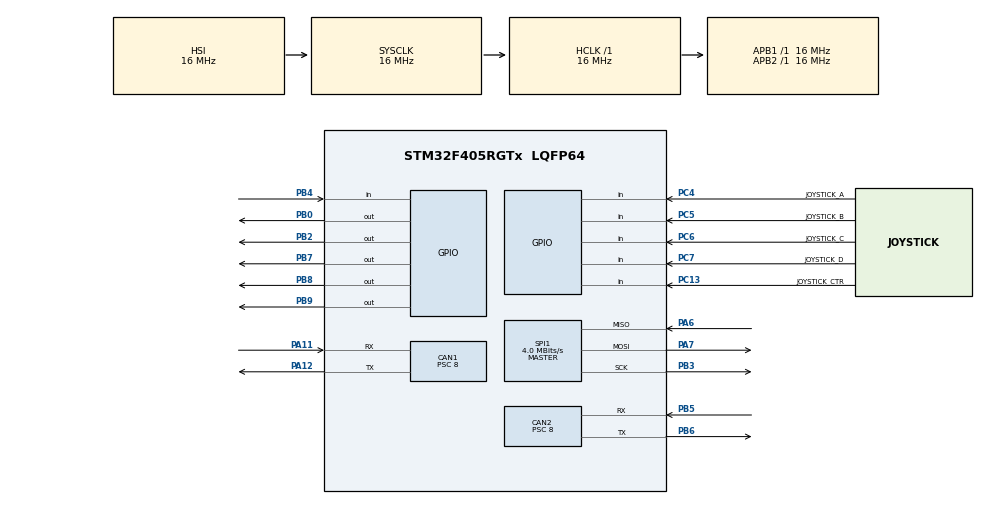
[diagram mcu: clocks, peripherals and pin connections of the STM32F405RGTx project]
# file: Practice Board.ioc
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CAN1.BS1=CAN_BS1_2TQ
CAN1.CalculateBaudRate=500000
CAN1.CalculateTimeBit=2000.00
CAN1.CalculateTimeQuantum=500.0
CAN1.Mode=CAN_MODE_NORMAL
CAN1.Prescaler=8
CAN2.BS1=CAN_BS1_2TQ
CAN2.CalculateBaudRate=500000
CAN2.CalculateTimeBit=2000.00
CAN2.CalculateTimeQuantum=500.0
CAN2.Prescaler=8
Mcu.Family=STM32F4
Mcu.Name=STM32F405RGTx
Mcu.Package=LQFP64
NVIC.CAN1_RX0_IRQn=true\:0\:0\:false\:false\:true\:true\:true
NVIC.CAN2_RX0_IRQn=true\:0\:0\:false\:false\:true\:true\:true
NVIC.PriorityGroup=NVIC_PRIORITYGROUP_4
NVIC.TIM2_IRQn=true\:0\:0\:false\:false\:true\:true\:true
PA11.GPIO_PuPd=GPIO_PULLUP
PA11.Mode=CAN_Activate
PA11.Signal=CAN1_RX
PA12.GPIO_PuPd=GPIO_PULLUP
PA12.Mode=CAN_Activate
PA12.Signal=CAN1_TX
PA6.GPIO_PuPd=GPIO_PULLUP
PA6.Mode=Full_Duplex_Master
PA6.Signal=SPI1_MISO
PA7.GPIO_PuPd=GPIO_PULLUP
PA7.Mode=Full_Duplex_Master
PA7.Signal=SPI1_MOSI
PB0.Signal=GPIO_Output
PB2.Signal=GPIO_Output
PB3.GPIO_PuPd=GPIO_PULLUP
PB3.Mode=Full_Duplex_Master
PB3.Signal=SPI1_SCK
PB4.GPIO_PuPd=GPIO_PULLUP
PB4.Signal=GPIO_Input
PB5.GPIO_PuPd=GPIO_PULLUP
PB5.Mode=CAN_Activate
PB5.Signal=CAN2_RX
PB6.GPIO_PuPd=GPIO_PULLUP
PB6.Mode=CAN_Activate
PB6.Signal=CAN2_TX
PB7.Signal=GPIO_Output
PB8.Signal=GPIO_Output
PB9.Signal=GPIO_Output
PC13-ANTI_TAMP.GPIO_Label=JOYSTICK_CTR
PC13-ANTI_TAMP.GPIO_PuPd=GPIO_PULLUP
PC13-ANTI_TAMP.Signal=GPIO_Input
PC4.GPIO_Label=JOYSTICK_A
PC4.GPIO_PuPd=GPIO_PULLUP
PC4.Signal=GPIO_Input
PC5.GPIO_Label=JOYSTICK_B
PC5.GPIO_PuPd=GPIO_PULLUP
PC5.Signal=GPIO_Input
PC6.GPIO_Label=JOYSTICK_C
PC6.GPIO_PuPd=GPIO_PULLUP
PC6.Signal=GPIO_Input
PC7.GPIO_Label=JOYSTICK_D
PC7.GPIO_PuPd=GPIO_PULLUP
PC7.Signal=GPIO_Input
ProjectManager.HeapSize=0x200
ProjectManager.StackSize=0x400
ProjectManager.TargetToolchain=STM32CubeIDE
RCC.AHBFreq_Value=16000000
RCC.APB1Freq_Value=16000000
RCC.APB2Freq_Value=16000000
RCC.CortexFreq_Value=16000000
RCC.HSE_VALUE=25000000
RCC.HSI_VALUE=16000000
RCC.LSE_VALUE=32768
RCC.SYSCLKFreq_VALUE=16000000
RCC.VCOOutputFreq_Value=192000000
SPI1.BaudRatePrescaler=SPI_BAUDRATEPRESCALER_4
SPI1.CLKPolarity=SPI_POLARITY_HIGH
SPI1.CalculateBaudRate=4.0 MBits/s
SPI1.Direction=SPI_DIRECTION_2LINES
SPI1.Mode=SPI_MODE_MASTER
SPI1.VirtualType=VM_MASTER
TIM2.Period=9999
TIM2.Prescaler=15
VP_TIM2_VS_ClockSourceINT.Mode=Internal
board=custom

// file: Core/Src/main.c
/* USER CODE BEGIN Header */
/**
  ******************************************************************************
  * @file           : main.c
  * @brief          : Main program body
  ******************************************************************************
  * @attention
  *
  * <h2><center>&copy; Copyright (c) 2023 STMicroelectronics.
  * All rights reserved.</center></h2>
  *
  * This software component is licensed by ST under BSD 3-Clause license,
  * the "License"; You may not use this file except in compliance with the
  * License. You may obtain a copy of the License at:
  *                        opensource.org/licenses/BSD-3-Clause
  *
  ******************************************************************************
  */
/* USER CODE END Header */
#include "main.h"

/* USER CODE BEGIN Includes */
#include <stdio.h>
#include "LCD_driver.h"
#include "st7789.h"
#include "fonts.h"
#include "LCD_lib.h"
/* USER CODE END Includes */

CAN_HandleTypeDef hcan1;
CAN_HandleTypeDef hcan2;

SPI_HandleTypeDef hspi1;

TIM_HandleTypeDef htim2;

void SystemClock_Config(void);
static void MX_GPIO_Init(void);
static void MX_CAN1_Init(void);
static void MX_TIM2_Init(void);
static void MX_SPI1_Init(void);
static void MX_CAN2_Init(void);

/* USER CODE BEGIN 0 */

CAN_TxHeaderTypeDef TxHeader;
CAN_RxHeaderTypeDef RxHeader;

uint8_t TxData[8] = {0};
uint8_t RxData[8];

uint32_t TxMailbox;

CAN_TxHeaderTypeDef TxHeader2;
CAN_RxHeaderTypeDef RxHeader2;

uint8_t TxData2[8] = {0};
uint8_t RxData2[8];

uint32_t TxMailbox2;

int dataflag = 0;
int dataflag2 = 0;
int timer0_flag = 0;
int timer0_counter = 0;
int timer1_flag = 0;
int timer1_counter = 0;
int data2counter = 0;

void HAL_CAN_RxFifo0MsgPendingCallback(CAN_HandleTypeDef *hcan);
void HAL_TIM_PeriodElapsedCallback(TIM_HandleTypeDef *htim);
void setTimer0(int time_ms);
void setTimer1(int time_ms);
void timerRun();
int calc_SAE_J1850(uint8_t data[], int crc_len);

/* USER CODE END 0 */

int main(void)
{

  /* MCU Configuration--------------------------------------------------------*/

  /* Reset of all peripherals, Initializes the Flash interface and the Systick. */
  HAL_Init();

  /* Configure the system clock */
  SystemClock_Config();

  /* Initialize all configured peripherals */
  MX_GPIO_Init();
  MX_CAN1_Init();
  MX_TIM2_Init();
  MX_SPI1_Init();
  MX_CAN2_Init();
  /* USER CODE BEGIN 2 */

  if(HAL_CAN_Start(&hcan1)==HAL_ERROR){
	  while(1){
		  HAL_GPIO_TogglePin(GPIOB, GPIO_PIN_0);
		  HAL_GPIO_TogglePin(GPIOB, GPIO_PIN_1);
		  HAL_GPIO_TogglePin(GPIOB, GPIO_PIN_2);
		  HAL_GPIO_TogglePin(GPIOB, GPIO_PIN_3);
		  HAL_Delay(500);
	  }
  }
  if(HAL_CAN_Start(&hcan2)==HAL_ERROR){
  	  while(1){
  		  HAL_GPIO_TogglePin(GPIOB, GPIO_PIN_0);
  		  HAL_Delay(500);
  		  HAL_GPIO_TogglePin(GPIOB, GPIO_PIN_1);
  		  HAL_Delay(500);
  		  HAL_GPIO_TogglePin(GPIOB, GPIO_PIN_2);
  		  HAL_Delay(500);
  		  HAL_GPIO_TogglePin(GPIOB, GPIO_PIN_3);
  		  HAL_Delay(500);
  	  }
    }
  HAL_CAN_ActivateNotification(&hcan1, CAN_IT_RX_FIFO0_MSG_PENDING);
  HAL_CAN_ActivateNotification(&hcan2, CAN_IT_RX_FIFO0_MSG_PENDING);
  HAL_TIM_Base_Start_IT(&htim2);

  TxHeader.DLC = 8;
  TxHeader.IDE = CAN_ID_STD;
  TxHeader.RTR = CAN_RTR_DATA;
  TxHeader.StdId = 0x012;

  TxHeader2.DLC = 8;
  TxHeader2.IDE = CAN_ID_STD;
  TxHeader2.RTR = CAN_RTR_DATA;
  TxHeader2.StdId = 0x0A2;

  /* USER CODE END 2 */

  /* Infinite loop */
  /* USER CODE BEGIN WHILE */
  setTimer0(50);
  setTimer1(20);

  lcd_init();
  ST7789_Init();
  char buffer[50];

  while (1)
  {
    /* USER CODE END WHILE */

    /* USER CODE BEGIN 3 */

	/* Node 1 */
	if(dataflag){
		dataflag = 0;

		TxData[0] = RxData[0];
		TxData[1] = RxData[1];
		TxData[2] = TxData[0] + TxData[1];
		TxData[7] = calc_SAE_J1850(TxData, 7);

		sprintf(buffer, "Node 1: 0x0A2 value [0] = %#04x",RxData[0]);
		ST7789_WriteString(10, 10, buffer, Font_7x10, WHITE, BLACK);
		sprintf(buffer, "Node 1: 0x0A2 value [1] = %#04x",RxData[1]);
		ST7789_WriteString(10, 25, buffer, Font_7x10, WHITE, BLACK);
		sprintf(buffer, "Node 1: 0x0A2 value [6] = %#04x",RxData[6]);
		ST7789_WriteString(10, 40, buffer, Font_7x10, WHITE, BLACK);
	}

	if(timer0_flag){
		setTimer0(50);
		if(HAL_CAN_GetTxMailboxesFreeLevel(&hcan1)>0){
			if(HAL_CAN_AddTxMessage(&hcan1, &TxHeader, TxData, &TxMailbox)!=HAL_OK){
				Error_Handler();
			}
		}
	}

	/* Node 2 */
	if(dataflag2){
		dataflag2 = 0;
		HAL_GPIO_WritePin(GPIOB, GPIO_PIN_0, SET);
		// TO DO: DISPLAY ON LCD
		sprintf(buffer, "Node 2: CRC value = %#04x, VALID!",RxData2[7]);
		ST7789_WriteString(10, 60, buffer, Font_7x10, WHITE, BLACK);
	}

	if(timer1_flag){
		setTimer1(20);
		if(HAL_CAN_GetTxMailboxesFreeLevel(&hcan2)>0){
			TxData2[0] = 0x01;
			TxData2[1] = 0x04;
			TxData2[6] = data2counter++;
			if(HAL_CAN_AddTxMessage(&hcan2, &TxHeader2, TxData2, &TxMailbox2)!=HAL_OK){
				Error_Handler();
			}
		}
	}
  }
  /* USER CODE END 3 */
}

void SystemClock_Config(void)
{
  RCC_OscInitTypeDef RCC_OscInitStruct = {0};
  RCC_ClkInitTypeDef RCC_ClkInitStruct = {0};

  /** Configure the main internal regulator output voltage
  */
  __HAL_RCC_PWR_CLK_ENABLE();
  __HAL_PWR_VOLTAGESCALING_CONFIG(PWR_REGULATOR_VOLTAGE_SCALE1);
  /** Initializes the RCC Oscillators according to the specified parameters
  * in the RCC_OscInitTypeDef structure.
  */
  RCC_OscInitStruct.OscillatorType = RCC_OSCILLATORTYPE_HSI;
  RCC_OscInitStruct.HSIState = RCC_HSI_ON;
  RCC_OscInitStruct.HSICalibrationValue = RCC_HSICALIBRATION_DEFAULT;
  RCC_OscInitStruct.PLL.PLLState = RCC_PLL_NONE;
  if (HAL_RCC_OscConfig(&RCC_OscInitStruct) != HAL_OK)
  {
    Error_Handler();
  }
  /** Initializes the CPU, AHB and APB buses clocks
  */
  RCC_ClkInitStruct.ClockType = RCC_CLOCKTYPE_HCLK|RCC_CLOCKTYPE_SYSCLK
                              |RCC_CLOCKTYPE_PCLK1|RCC_CLOCKTYPE_PCLK2;
  RCC_ClkInitStruct.SYSCLKSource = RCC_SYSCLKSOURCE_HSI;
  RCC_ClkInitStruct.AHBCLKDivider = RCC_SYSCLK_DIV1;
  RCC_ClkInitStruct.APB1CLKDivider = RCC_HCLK_DIV1;
  RCC_ClkInitStruct.APB2CLKDivider = RCC_HCLK_DIV1;

  if (HAL_RCC_ClockConfig(&RCC_ClkInitStruct, FLASH_LATENCY_0) != HAL_OK)
  {
    Error_Handler();
  }
}

static void MX_CAN1_Init(void)
{

  hcan1.Instance = CAN1;
  hcan1.Init.Prescaler = 8;
  hcan1.Init.Mode = CAN_MODE_NORMAL;
  hcan1.Init.SyncJumpWidth = CAN_SJW_1TQ;
  hcan1.Init.TimeSeg1 = CAN_BS1_2TQ;
  hcan1.Init.TimeSeg2 = CAN_BS2_1TQ;
  hcan1.Init.TimeTriggeredMode = DISABLE;
  hcan1.Init.AutoBusOff = DISABLE;
  hcan1.Init.AutoWakeUp = DISABLE;
  hcan1.Init.AutoRetransmission = DISABLE;
  hcan1.Init.ReceiveFifoLocked = DISABLE;
  hcan1.Init.TransmitFifoPriority = DISABLE;
  if (HAL_CAN_Init(&hcan1) != HAL_OK)
  {
    Error_Handler();
  }
  /* USER CODE BEGIN CAN1_Init 2 */
  CAN_FilterTypeDef canfilterconfig1;

  canfilterconfig1.FilterActivation = CAN_FILTER_ENABLE;
  canfilterconfig1.FilterBank = 0;  // which filter bank to use from the assigned ones
  canfilterconfig1.FilterFIFOAssignment = CAN_FILTER_FIFO0;
  canfilterconfig1.FilterIdHigh = 0x0A2<<5;
  canfilterconfig1.FilterIdLow = 0;
  canfilterconfig1.FilterMaskIdHigh = 0x0A2;
  canfilterconfig1.FilterMaskIdLow = 0;
  canfilterconfig1.FilterMode = CAN_FILTERMODE_IDMASK;
  canfilterconfig1.FilterScale = CAN_FILTERSCALE_32BIT;
  canfilterconfig1.SlaveStartFilterBank = 14;  // how many filters to assign to the CAN1 (master can)

  HAL_CAN_ConfigFilter(&hcan1, &canfilterconfig1);
  /* USER CODE END CAN1_Init 2 */

}

static void MX_CAN2_Init(void)
{

  hcan2.Instance = CAN2;
  hcan2.Init.Prescaler = 8;
  hcan2.Init.Mode = CAN_MODE_NORMAL;
  hcan2.Init.SyncJumpWidth = CAN_SJW_1TQ;
  hcan2.Init.TimeSeg1 = CAN_BS1_2TQ;
  hcan2.Init.TimeSeg2 = CAN_BS2_1TQ;
  hcan2.Init.TimeTriggeredMode = DISABLE;
  hcan2.Init.AutoBusOff = DISABLE;
  hcan2.Init.AutoWakeUp = DISABLE;
  hcan2.Init.AutoRetransmission = DISABLE;
  hcan2.Init.ReceiveFifoLocked = DISABLE;
  hcan2.Init.TransmitFifoPriority = DISABLE;
  if (HAL_CAN_Init(&hcan2) != HAL_OK)
  {
    Error_Handler();
  }
  /* USER CODE BEGIN CAN2_Init 2 */
  CAN_FilterTypeDef canfilterconfig2;

    canfilterconfig2.FilterActivation = CAN_FILTER_ENABLE;
    canfilterconfig2.FilterBank = 14;  // which filter bank to use from the assigned ones
    canfilterconfig2.FilterFIFOAssignment = CAN_FILTER_FIFO0;
    canfilterconfig2.FilterIdHigh = 0x012<<5;
    canfilterconfig2.FilterIdLow = 0;
    canfilterconfig2.FilterMaskIdHigh = 0x0A12;
    canfilterconfig2.FilterMaskIdLow = 0;
    canfilterconfig2.FilterMode = CAN_FILTERMODE_IDMASK;
    canfilterconfig2.FilterScale = CAN_FILTERSCALE_32BIT;
    canfilterconfig2.SlaveStartFilterBank = 14;  // how many filters to assign to the CAN1 (master can)

    HAL_CAN_ConfigFilter(&hcan2, &canfilterconfig2);

  /* USER CODE END CAN2_Init 2 */

}

static void MX_SPI1_Init(void)
{

  /* SPI1 parameter configuration*/
  hspi1.Instance = SPI1;
  hspi1.Init.Mode = SPI_MODE_MASTER;
  hspi1.Init.Direction = SPI_DIRECTION_2LINES;
  hspi1.Init.DataSize = SPI_DATASIZE_8BIT;
  hspi1.Init.CLKPolarity = SPI_POLARITY_HIGH;
  hspi1.Init.CLKPhase = SPI_PHASE_1EDGE;
  hspi1.Init.NSS = SPI_NSS_SOFT;
  hspi1.Init.BaudRatePrescaler = SPI_BAUDRATEPRESCALER_4;
  hspi1.Init.FirstBit = SPI_FIRSTBIT_MSB;
  hspi1.Init.TIMode = SPI_TIMODE_DISABLE;
  hspi1.Init.CRCCalculation = SPI_CRCCALCULATION_DISABLE;
  hspi1.Init.CRCPolynomial = 10;
  if (HAL_SPI_Init(&hspi1) != HAL_OK)
  {
    Error_Handler();
  }

}

static void MX_TIM2_Init(void)
{

  TIM_ClockConfigTypeDef sClockSourceConfig = {0};
  TIM_MasterConfigTypeDef sMasterConfig = {0};

  htim2.Instance = TIM2;
  htim2.Init.Prescaler = 15;
  htim2.Init.CounterMode = TIM_COUNTERMODE_UP;
  htim2.Init.Period = 9999;
  htim2.Init.ClockDivision = TIM_CLOCKDIVISION_DIV1;
  htim2.Init.AutoReloadPreload = TIM_AUTORELOAD_PRELOAD_DISABLE;
  if (HAL_TIM_Base_Init(&htim2) != HAL_OK)
  {
    Error_Handler();
  }
  sClockSourceConfig.ClockSource = TIM_CLOCKSOURCE_INTERNAL;
  if (HAL_TIM_ConfigClockSource(&htim2, &sClockSourceConfig) != HAL_OK)
  {
    Error_Handler();
  }
  sMasterConfig.MasterOutputTrigger = TIM_TRGO_RESET;
  sMasterConfig.MasterSlaveMode = TIM_MASTERSLAVEMODE_DISABLE;
  if (HAL_TIMEx_MasterConfigSynchronization(&htim2, &sMasterConfig) != HAL_OK)
  {
    Error_Handler();
  }

}

static void MX_GPIO_Init(void)
{
  GPIO_InitTypeDef GPIO_InitStruct = {0};

  /* GPIO Ports Clock Enable */
  __HAL_RCC_GPIOC_CLK_ENABLE();
  __HAL_RCC_GPIOA_CLK_ENABLE();
  __HAL_RCC_GPIOB_CLK_ENABLE();

  /*Configure GPIO pin Output Level */
  HAL_GPIO_WritePin(GPIOB, GPIO_PIN_0|GPIO_PIN_2|GPIO_PIN_7|GPIO_PIN_8
                          |GPIO_PIN_9, GPIO_PIN_RESET);

  /*Configure GPIO pins : JOYSTICK_CTR_Pin JOYSTICK_A_Pin JOYSTICK_B_Pin JOYSTICK_C_Pin
                           JOYSTICK_D_Pin */
  GPIO_InitStruct.Pin = JOYSTICK_CTR_Pin|JOYSTICK_A_Pin|JOYSTICK_B_Pin|JOYSTICK_C_Pin
                          |JOYSTICK_D_Pin;
  GPIO_InitStruct.Mode = GPIO_MODE_INPUT;
  GPIO_InitStruct.Pull = GPIO_PULLUP;
  HAL_GPIO_Init(GPIOC, &GPIO_InitStruct);

  /*Configure GPIO pins : PB0 PB2 PB7 PB8
                           PB9 */
  GPIO_InitStruct.Pin = GPIO_PIN_0|GPIO_PIN_2|GPIO_PIN_7|GPIO_PIN_8
                          |GPIO_PIN_9;
  GPIO_InitStruct.Mode = GPIO_MODE_OUTPUT_PP;
  GPIO_InitStruct.Pull = GPIO_NOPULL;
  GPIO_InitStruct.Speed = GPIO_SPEED_FREQ_LOW;
  HAL_GPIO_Init(GPIOB, &GPIO_InitStruct);

  /*Configure GPIO pin : PB4 */
  GPIO_InitStruct.Pin = GPIO_PIN_4;
  GPIO_InitStruct.Mode = GPIO_MODE_INPUT;
  GPIO_InitStruct.Pull = GPIO_PULLUP;
  HAL_GPIO_Init(GPIOB, &GPIO_InitStruct);

}

/* USER CODE BEGIN 4 */

int calc_SAE_J1850(uint8_t data[], int length){
	uint8_t polynomial = 0x1D; // Generator polynomial for CRC-8 SAE J1850
	uint8_t remainder = 0xFF;

	for (int i = 0; i < length; i++) {
		remainder ^= data[i];
		for (int bit = 0; bit < 8; bit++) {
			if (remainder & 0x80) {
				remainder = (remainder << 1) ^ polynomial;
			} else {
				remainder <<= 1;
			}
		}
	}

	return remainder ^ 0xFF; // Invert the bits
}

void setTimer0(int time_ms){
	timer0_counter = time_ms/10;
	timer0_flag = 0;
}

void setTimer1(int time_ms){
	timer1_counter = time_ms/10;
	timer1_flag = 0;
}

void timerRun(){
	if(timer0_counter > 0){
		timer0_counter--;
	}else{
		timer0_flag = 1;
	}
	if(timer1_counter > 0){
		timer1_counter--;
	}else{
		timer1_flag = 1;
	}
}

void HAL_CAN_RxFifo0MsgPendingCallback(CAN_HandleTypeDef *hcan){
	if(hcan->Instance == CAN1){
		if(HAL_CAN_GetRxMessage(hcan, CAN_RX_FIFO0, &RxHeader, RxData)==HAL_OK){
			dataflag = 1;
		}else{
			Error_Handler();
		}
	}
	if(hcan->Instance == CAN2){
		if(HAL_CAN_GetRxMessage(hcan, CAN_RX_FIFO0, &RxHeader2, RxData2)==HAL_OK){
			dataflag2 = 1;
		}else{
			Error_Handler();
		}
	}
}
void HAL_TIM_PeriodElapsedCallback(TIM_HandleTypeDef *htim){
	timerRun();
}

/* USER CODE END 4 */

void Error_Handler(void)
{
  __disable_irq();
  while (1)
  {
  }
}

/************************ (C) COPYRIGHT STMicroelectronics *****END OF FILE****/
